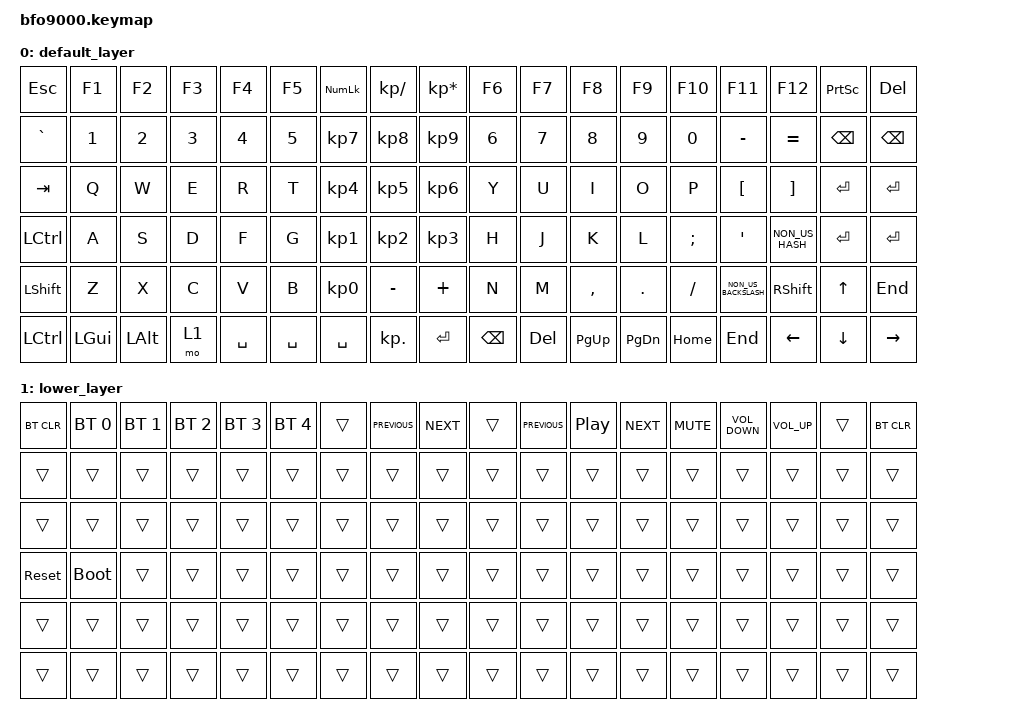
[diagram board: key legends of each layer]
#include <behaviors.dtsi>
#include <dt-bindings/zmk/bt.h>
#include <dt-bindings/zmk/keys.h>

/ {
    keymap {
        compatible = "zmk,keymap";

        default_layer {
            // LEFT HALF (Alpha + Numpad)                                ||  RIGHT HALF (Alphas + Horizontal Double Keys)
            // 1      2      3      4      5      6    7     8      9    ||  10     11     12    13     14     15     16     17     18

            bindings = <
&kp ESC    &kp F1    &kp F2    &kp F3  &kp F4     &kp F5     &kp KP_NUMLOCK   &kp KP_DIVIDE    &kp KP_MULTIPLY  &kp F6         &kp F7   &kp F8       &kp F9         &kp F10    &kp F11               &kp F12          &kp PSCRN       &kp DEL
&kp GRAVE  &kp N1    &kp N2    &kp N3  &kp N4     &kp N5     &kp KP_NUMBER_7  &kp KP_NUMBER_8  &kp KP_NUMBER_9  &kp N6         &kp N7   &kp N8       &kp N9         &kp N0     &kp MINUS             &kp EQUAL        &kp BSPC        &kp BSPC
&kp TAB    &kp Q     &kp W     &kp E   &kp R      &kp T      &kp KP_NUMBER_4  &kp KP_NUMBER_5  &kp KP_NUMBER_6  &kp Y          &kp U    &kp I        &kp O          &kp P      &kp LBKT              &kp RBKT         &kp RET         &kp RET
&kp LCTRL  &kp A     &kp S     &kp D   &kp F      &kp G      &kp KP_NUMBER_1  &kp KP_NUMBER_2  &kp KP_NUMBER_3  &kp H          &kp J    &kp K        &kp L          &kp SEMI   &kp SINGLE_QUOTE      &kp NON_US_HASH  &kp RET         &kp RET
&kp LSHFT  &kp Z     &kp X     &kp C   &kp V      &kp B      &kp KP_NUMBER_0  &kp MINUS        &kp PLUS         &kp N          &kp M    &kp COMMA    &kp DOT        &kp SLASH  &kp NON_US_BACKSLASH  &kp RIGHT_SHIFT  &kp UP          &kp END
&kp LCTRL  &kp LGUI  &kp LALT  &mo 1   &kp SPACE  &kp SPACE  &kp SPACE        &kp KP_DOT       &kp RET          &kp BACKSPACE  &kp DEL  &kp PAGE_UP  &kp PAGE_DOWN  &kp HOME   &kp END               &kp LEFT_ARROW   &kp DOWN_ARROW  &kp RIGHT
            >;
        };

        lower_layer {
            bindings = <
&bt BT_CLR  &bt BT_SEL 0  &bt BT_SEL 1  &bt BT_SEL 2  &bt BT_SEL 3  &bt BT_SEL 4  &trans  &kp C_PREVIOUS  &kp C_NEXT  &trans  &kp C_PREVIOUS  &kp C_PLAY_PAUSE  &kp C_NEXT  &kp C_MUTE  &kp C_VOLUME_DOWN  &kp C_VOLUME_UP  &trans  &bt BT_CLR
&trans      &trans        &trans        &trans        &trans        &trans        &trans  &trans          &trans      &trans  &trans          &trans            &trans      &trans      &trans             &trans           &trans  &trans
&trans      &trans        &trans        &trans        &trans        &trans        &trans  &trans          &trans      &trans  &trans          &trans            &trans      &trans      &trans             &trans           &trans  &trans
&sys_reset  &bootloader   &trans        &trans        &trans        &trans        &trans  &trans          &trans      &trans  &trans          &trans            &trans      &trans      &trans             &trans           &trans  &trans
&trans      &trans        &trans        &trans        &trans        &trans        &trans  &trans          &trans      &trans  &trans          &trans            &trans      &trans      &trans             &trans           &trans  &trans
&trans      &trans        &trans        &trans        &trans        &trans        &trans  &trans          &trans      &trans  &trans          &trans            &trans      &trans      &trans             &trans           &trans  &trans
            >;
        };
    };
};
